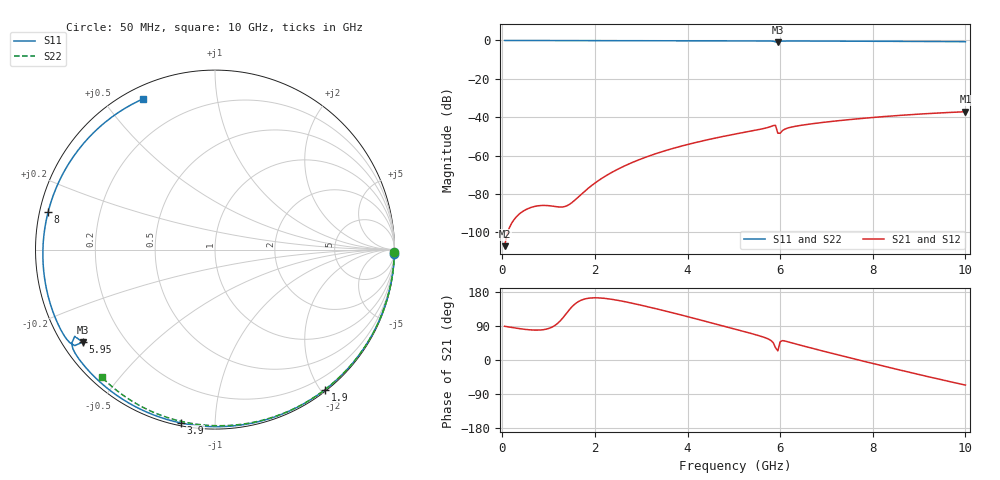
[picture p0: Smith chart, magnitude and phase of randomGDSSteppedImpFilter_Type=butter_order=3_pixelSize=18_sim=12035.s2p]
! freq	dB(S11)	phase(S11)	dB(S12)	phase(S12)
!  dB(S21)	phase(S21)	dB(S22)	phase(S22)
!S-par simulation data
#  GHz  S  DB  R 50
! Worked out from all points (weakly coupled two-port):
!   200 points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, 50 MHz to 10 GHz, reference 50 ohm
!   highest |S21| = -37.17 dB at 10 GHz (marker M1); lowest = -107.3 dB at 50 MHz (marker M2)
!   lowest |S11| = -0.9 dB at 5.95 GHz (marker M3), VSWR 19.02, Z = 2.89 - j15.7 ohm
!   |S11| at or under -10 dB: nowhere
!   |S22| runs from -0.4 to 0.0 dB; largest |S21 - S12| = 0
!   S11 on the Smith chart (normalised r, x): 50 MHz: 0, -81; 1.9 GHz: 0.02, -2.06; 3.9 GHz: 0.01, -0.82; 5.95 GHz: 0.06, -0.31; 8 GHz: 0.02, +0.11; 10 GHz: 0.05, +0.63
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0.05  -0.00 -1.4  -107.28 89.0  -107.28 89.0  -0.00 -0.8
0.85  -0.03 -23.6  -86.06 79.5  -86.06 79.5  -0.02 -12.8
1.7  -0.06 -46.5  -80.35 157.6  -80.35 157.6  -0.03 -25.5
1.75  -0.06 -47.9  -79.27 159.9  -79.27 159.9  -0.03 -26.2
1.9  -0.07 -51.8  -76.22 163.6  -76.22 163.6  -0.04 -28.4
2.2  -0.08 -59.6  -71.13 162.8  -71.13 162.8  -0.04 -32.8
2.55  -0.09 -68.5  -66.47 156.2  -66.47 156.2  -0.05 -37.9
3.4  -0.12 -89.3  -58.38 132.9  -58.38 132.9  -0.07 -49.9
3.9  -0.13 -101.1  -54.89 117.7  -54.89 117.7  -0.08 -56.9
5.05  -0.19 -127.3  -48.72 80.7  -48.72 80.7  -0.11 -72.3
5.65  -0.24 -141.0  -45.91 60.0  -45.91 60.0  -0.13 -80.0
5.9  -0.74 -148.3  -44.30 32.4  -44.30 32.4  -0.14 -83.2
5.95  -0.91 -145.0  -48.39 24.2  -48.39 24.2  -0.14 -83.8
6  -0.47 -145.6  -48.37 48.2  -48.37 48.2  -0.15 -84.5
6.1  -0.30 -148.9  -46.26 50.2  -46.26 50.2  -0.15 -85.7
6.2  -0.28 -151.5  -45.43 47.0  -45.43 47.0  -0.16 -87.0
6.7  -0.30 -163.0  -43.41 30.6  -43.41 30.6  -0.18 -93.1
7.35  -0.36 -177.7  -41.62 10.5  -41.62 10.5  -0.22 -101.0
8  -0.42 167.3  -40.17 -9.2  -40.17 -9.2  -0.26 -108.7
8.35  -0.45 158.9  -39.49 -19.5  -39.49 -19.5  -0.29 -112.7
9.15  -0.53 138.7  -38.19 -42.7  -38.19 -42.7  -0.36 -121.9
10  -0.63 115.5  -37.17 -66.2  -37.17 -66.2  -0.44 -131.5
